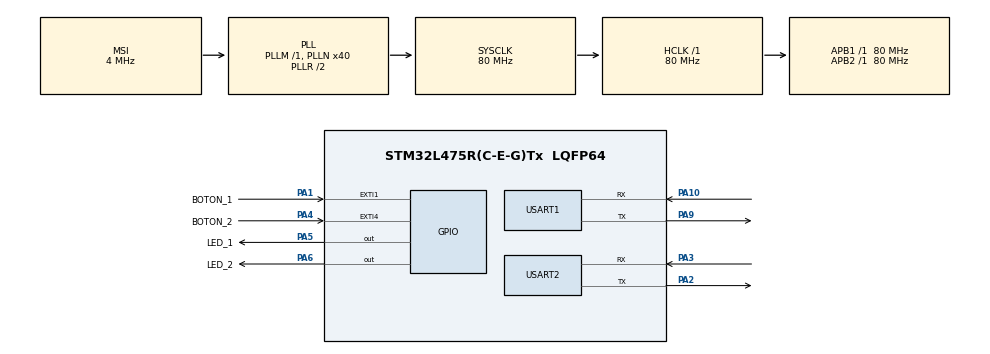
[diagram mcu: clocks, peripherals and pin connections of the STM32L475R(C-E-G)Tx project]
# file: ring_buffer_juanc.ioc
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Mcu.Family=STM32L4
Mcu.Name=STM32L475R(C-E-G)Tx
Mcu.Package=LQFP64
NVIC.EXTI1_IRQn=true\:0\:0\:false\:false\:true\:true\:true\:true
NVIC.EXTI4_IRQn=true\:0\:0\:false\:false\:true\:true\:true\:true
NVIC.PriorityGroup=NVIC_PRIORITYGROUP_4
NVIC.USART1_IRQn=true\:0\:0\:false\:false\:true\:true\:true\:true
NVIC.USART2_IRQn=true\:0\:0\:false\:false\:true\:true\:true\:true
PA1.GPIO_Label=BOTON_1
PA1.Signal=GPXTI1
PA10.Mode=Asynchronous
PA10.Signal=USART1_RX
PA2.Mode=Asynchronous
PA2.Signal=USART2_TX
PA3.Mode=Asynchronous
PA3.Signal=USART2_RX
PA4.GPIO_Label=BOTON_2
PA4.Signal=GPXTI4
PA5.GPIO_Label=LED_1
PA5.PinState=GPIO_PIN_SET
PA5.Signal=GPIO_Output
PA6.GPIO_Label=LED_2
PA6.PinState=GPIO_PIN_SET
PA6.Signal=GPIO_Output
PA9.Mode=Asynchronous
PA9.Signal=USART1_TX
ProjectManager.HeapSize=0x200
ProjectManager.StackSize=0x400
ProjectManager.TargetToolchain=STM32CubeIDE
RCC.AHBFreq_Value=80000000
RCC.APB1Freq_Value=80000000
RCC.APB1TimFreq_Value=80000000
RCC.APB2Freq_Value=80000000
RCC.APB2TimFreq_Value=80000000
RCC.CortexFreq_Value=80000000
RCC.HCLKFreq_Value=80000000
RCC.HSE_VALUE=8000000
RCC.HSI_VALUE=16000000
RCC.LSE_VALUE=32768
RCC.MSI_VALUE=4000000
RCC.PLLN=40
RCC.SYSCLKFreq_VALUE=80000000
RCC.SYSCLKSource=RCC_SYSCLKSOURCE_PLLCLK
RCC.VCOOutputFreq_Value=160000000
USART1.VirtualMode-Asynchronous=VM_ASYNC
USART2.VirtualMode-Asynchronous=VM_ASYNC
board=custom

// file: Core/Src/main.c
/* USER CODE BEGIN Header */
/**
  **************************
  * @file           : main.c
  * @brief          : Main program body
  **************************
  * @attention
  *
  * Copyright (c) 2024 STMicroelectronics.
  * All rights reserved.
  *
  * This software is licensed under terms that can be found in the LICENSE file
  * in the root directory of this software component.
  * If no LICENSE file comes with this software, it is provided AS-IS.
  *
  **************************
  */
/* USER CODE END Header */
#include "main.h"

/* USER CODE BEGIN Includes */
#include "ring_buffer.h"
/* USER CODE END Includes */

UART_HandleTypeDef huart1;
UART_HandleTypeDef huart2;

/* USER CODE BEGIN PV */
uint32_t left_toggles = 0;
uint32_t left_last_press_tick = 0;

uint8_t data;

/* control variables for ring buffer in USART2 */
#define CAPACITY_USART2 10
uint8_t mem_usart2[CAPACITY_USART2];
ring_buffer_t rb_usart2;
/* USER CODE END PV */

void SystemClock_Config(void);
static void MX_GPIO_Init(void);
static void MX_USART2_UART_Init(void);
static void MX_USART1_UART_Init(void);

int main(void)
{

  /* MCU Configuration--------------------------------------------------------*/

  /* Reset of all peripherals, Initializes the Flash interface and the Systick. */
  HAL_Init();

  /* Configure the system clock */
  SystemClock_Config();

  /* Initialize all configured peripherals */
  MX_GPIO_Init();
  MX_USART2_UART_Init();
  MX_USART1_UART_Init();
  /* USER CODE BEGIN 2 */

  /* Initialize ring buffer (control, memory, and capacity) */
  ring_buffer_init(&rb_usart2, mem_usart2, CAPACITY_USART2);
  /* USER CODE END 2 */

  /* Infinite loop */
  /* USER CODE BEGIN WHILE */
  /* Enable USART Rx interrupt to start receiving */
  HAL_UART_Receive_IT(&huart1, &data, 1);
  HAL_UART_Receive_IT(&huart2, &data, 1);
  while (1)
  {
	  uint8_t byte = 0;
	  //if (ring_buffer_is_full() != 0) {
	  if (ring_buffer_is_full(&rb_usart2) != 0) {
		  int8_t id_incorrect = 0;
		  char my_id[] = "1053821948";
		  for (uint8_t idx = 0; idx < sizeof(my_id) - 1; idx++) {
			  //if (ring_buffer_read(&byte) != 0) { // 0x20
			  if (ring_buffer_read(&rb_usart2, &byte) != 0) { // 0x20
				  if (byte != my_id[idx]) {
					  id_incorrect = 1;
				  }
			  }

		  if (id_incorrect == 0) {
			  HAL_UART_Transmit(&huart2,(uint8_t *)"Sam C\r\n", 7, 10);
		  } else {
			  HAL_UART_Transmit(&huart2, (uint8_t *)"Error\r\n", 7, 10);
		  }
	  }
	  //heartbeat();
	  //turn_signal_left();
    /* USER CODE END WHILE */

  }
}
}

void SystemClock_Config(void)
{
  RCC_OscInitTypeDef RCC_OscInitStruct = {0};
  RCC_ClkInitTypeDef RCC_ClkInitStruct = {0};

  /** Configure the main internal regulator output voltage
  */
  if (HAL_PWREx_ControlVoltageScaling(PWR_REGULATOR_VOLTAGE_SCALE1) != HAL_OK)
  {
    Error_Handler();
  }

  /** Initializes the RCC Oscillators according to the specified parameters
  * in the RCC_OscInitTypeDef structure.
  */
  RCC_OscInitStruct.OscillatorType = RCC_OSCILLATORTYPE_MSI;
  RCC_OscInitStruct.MSIState = RCC_MSI_ON;
  RCC_OscInitStruct.MSICalibrationValue = 0;
  RCC_OscInitStruct.MSIClockRange = RCC_MSIRANGE_6;
  RCC_OscInitStruct.PLL.PLLState = RCC_PLL_ON;
  RCC_OscInitStruct.PLL.PLLSource = RCC_PLLSOURCE_MSI;
  RCC_OscInitStruct.PLL.PLLM = 1;
  RCC_OscInitStruct.PLL.PLLN = 40;
  RCC_OscInitStruct.PLL.PLLP = RCC_PLLP_DIV7;
  RCC_OscInitStruct.PLL.PLLQ = RCC_PLLQ_DIV2;
  RCC_OscInitStruct.PLL.PLLR = RCC_PLLR_DIV2;
  if (HAL_RCC_OscConfig(&RCC_OscInitStruct) != HAL_OK)
  {
    Error_Handler();
  }

  /** Initializes the CPU, AHB and APB buses clocks
  */
  RCC_ClkInitStruct.ClockType = RCC_CLOCKTYPE_HCLK|RCC_CLOCKTYPE_SYSCLK
                              |RCC_CLOCKTYPE_PCLK1|RCC_CLOCKTYPE_PCLK2;
  RCC_ClkInitStruct.SYSCLKSource = RCC_SYSCLKSOURCE_PLLCLK;
  RCC_ClkInitStruct.AHBCLKDivider = RCC_SYSCLK_DIV1;
  RCC_ClkInitStruct.APB1CLKDivider = RCC_HCLK_DIV1;
  RCC_ClkInitStruct.APB2CLKDivider = RCC_HCLK_DIV1;

  if (HAL_RCC_ClockConfig(&RCC_ClkInitStruct, FLASH_LATENCY_4) != HAL_OK)
  {
    Error_Handler();
  }
}

static void MX_USART1_UART_Init(void)
{

  huart1.Instance = USART1;
  huart1.Init.BaudRate = 115200;
  huart1.Init.WordLength = UART_WORDLENGTH_8B;
  huart1.Init.StopBits = UART_STOPBITS_1;
  huart1.Init.Parity = UART_PARITY_NONE;
  huart1.Init.Mode = UART_MODE_TX_RX;
  huart1.Init.HwFlowCtl = UART_HWCONTROL_NONE;
  huart1.Init.OverSampling = UART_OVERSAMPLING_16;
  huart1.Init.OneBitSampling = UART_ONE_BIT_SAMPLE_DISABLE;
  huart1.AdvancedInit.AdvFeatureInit = UART_ADVFEATURE_NO_INIT;
  if (HAL_UART_Init(&huart1) != HAL_OK)
  {
    Error_Handler();
  }

}

static void MX_USART2_UART_Init(void)
{

  huart2.Instance = USART2;
  huart2.Init.BaudRate = 115200;
  huart2.Init.WordLength = UART_WORDLENGTH_8B;
  huart2.Init.StopBits = UART_STOPBITS_1;
  huart2.Init.Parity = UART_PARITY_NONE;
  huart2.Init.Mode = UART_MODE_TX_RX;
  huart2.Init.HwFlowCtl = UART_HWCONTROL_NONE;
  huart2.Init.OverSampling = UART_OVERSAMPLING_16;
  huart2.Init.OneBitSampling = UART_ONE_BIT_SAMPLE_DISABLE;
  huart2.AdvancedInit.AdvFeatureInit = UART_ADVFEATURE_NO_INIT;
  if (HAL_UART_Init(&huart2) != HAL_OK)
  {
    Error_Handler();
  }

}

static void MX_GPIO_Init(void)
{
  GPIO_InitTypeDef GPIO_InitStruct = {0};

  /* GPIO Ports Clock Enable */
  __HAL_RCC_GPIOA_CLK_ENABLE();

  /*Configure GPIO pin Output Level */
  HAL_GPIO_WritePin(GPIOA, LED_1_Pin|LED_2_Pin, GPIO_PIN_SET);

  /*Configure GPIO pins : BOTON_1_Pin BOTON_2_Pin */
  GPIO_InitStruct.Pin = BOTON_1_Pin|BOTON_2_Pin;
  GPIO_InitStruct.Mode = GPIO_MODE_IT_RISING;
  GPIO_InitStruct.Pull = GPIO_NOPULL;
  HAL_GPIO_Init(GPIOA, &GPIO_InitStruct);

  /*Configure GPIO pins : LED_1_Pin LED_2_Pin */
  GPIO_InitStruct.Pin = LED_1_Pin|LED_2_Pin;
  GPIO_InitStruct.Mode = GPIO_MODE_OUTPUT_PP;
  GPIO_InitStruct.Pull = GPIO_NOPULL;
  GPIO_InitStruct.Speed = GPIO_SPEED_FREQ_LOW;
  HAL_GPIO_Init(GPIOA, &GPIO_InitStruct);

  /* EXTI interrupt init*/
  HAL_NVIC_SetPriority(EXTI1_IRQn, 0, 0);
  HAL_NVIC_EnableIRQ(EXTI1_IRQn);

  HAL_NVIC_SetPriority(EXTI4_IRQn, 0, 0);
  HAL_NVIC_EnableIRQ(EXTI4_IRQn);

}

void Error_Handler(void)
{
  __disable_irq();
  while (1)
  {
  }
}
